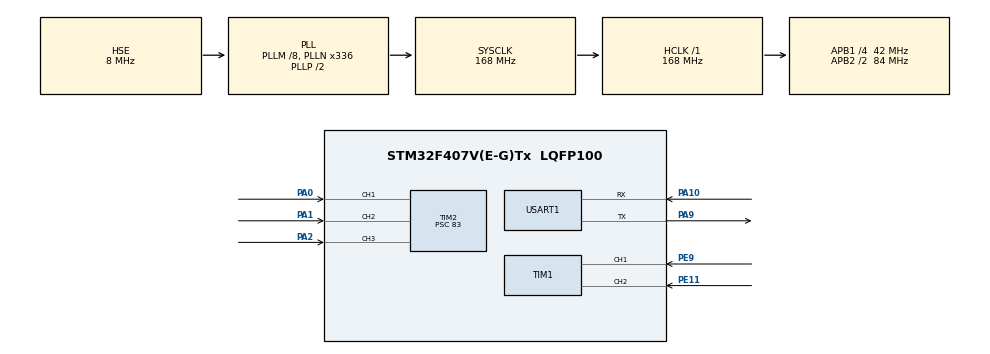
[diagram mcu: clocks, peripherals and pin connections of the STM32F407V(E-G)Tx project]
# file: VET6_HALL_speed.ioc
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Mcu.Family=STM32F4
Mcu.Name=STM32F407V(E-G)Tx
Mcu.Package=LQFP100
NVIC.PriorityGroup=NVIC_PRIORITYGROUP_2
NVIC.TIM2_IRQn=true\:1\:1\:true\:false\:true\:true\:true\:true
PA0-WKUP.Signal=S_TIM2_CH1_ETR
PA1.Signal=S_TIM2_CH2
PA10.Mode=Asynchronous
PA10.Signal=USART1_RX
PA2.Signal=S_TIM2_CH3
PA9.Mode=Asynchronous
PA9.Signal=USART1_TX
PE11.Signal=S_TIM1_CH2
PE9.Signal=S_TIM1_CH1
PH0-OSC_IN.Mode=HSE-External-Oscillator
PH0-OSC_IN.Signal=RCC_OSC_IN
PH1-OSC_OUT.Mode=HSE-External-Oscillator
PH1-OSC_OUT.Signal=RCC_OSC_OUT
ProjectManager.HeapSize=0x200
ProjectManager.StackSize=0x400
ProjectManager.TargetToolchain=STM32CubeIDE
RCC.48MHZClocksFreq_Value=84000000
RCC.AHBFreq_Value=168000000
RCC.APB1CLKDivider=RCC_HCLK_DIV4
RCC.APB1Freq_Value=42000000
RCC.APB1TimFreq_Value=84000000
RCC.APB2CLKDivider=RCC_HCLK_DIV2
RCC.APB2Freq_Value=84000000
RCC.APB2TimFreq_Value=168000000
RCC.CortexFreq_Value=168000000
RCC.HCLKFreq_Value=168000000
RCC.HSE_VALUE=8000000
RCC.HSI_VALUE=16000000
RCC.LSE_VALUE=32768
RCC.PLLM=8
RCC.PLLN=336
RCC.PLLSourceVirtual=RCC_PLLSOURCE_HSE
RCC.SYSCLKFreq_VALUE=168000000
RCC.SYSCLKSource=RCC_SYSCLKSOURCE_PLLCLK
RCC.VCOOutputFreq_Value=336000000
SH.S_TIM1_CH1.0=TIM1_CH1,Encoder_Interface
SH.S_TIM1_CH2.0=TIM1_CH2,Encoder_Interface
SH.S_TIM2_CH1_ETR.0=TIM2_CH1,Xored_Inputs_Hall_Sensor_Interface
SH.S_TIM2_CH2.0=TIM2_CH2,Xored_Inputs_Hall_Sensor_Interface
SH.S_TIM2_CH3.0=TIM2_CH3,Xored_Inputs_Hall_Sensor_Interface
TIM1.EncoderMode=TIM_ENCODERMODE_TI12
TIM2.IC1Polarity=TIM_ICPOLARITY_RISING
TIM2.Prescaler=83
USART1.VirtualMode=VM_ASYNC
board=custom

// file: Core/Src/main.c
/* USER CODE BEGIN Header */
/**
  ******************************************************************************
  * @file           : main.c
  * @brief          : Main program body
  ******************************************************************************
  * @attention
  *
  * Copyright (c) 2023 STMicroelectronics.
  * All rights reserved.
  *
  * This software is licensed under terms that can be found in the LICENSE file
  * in the root directory of this software component.
  * If no LICENSE file comes with this software, it is provided AS-IS.
  *
  ******************************************************************************
  */
/* USER CODE END Header */
#include "main.h"
#include "tim.h"
#include "usart.h"
#include "gpio.h"

/* USER CODE BEGIN Includes */
#include "retarget.h"
#include "math.h"
#include <string.h>

#define PI 3.14159265358979323846 // 定义圆周率
float MotorSpeed  = 0.0f ;// 电机转速,这里是占空比,

_Bool isTimeUp    = 0;     // 计时标记
uint32_t timeTick = 0;   // 计时标记
float Speed_hz    = 0 ;
#define TIMECNT 800
/* USER CODE END Includes */

/* USER CODE BEGIN PD */
#define HALL_U_Pin GPIO_PIN_0
#define HALL_U_GPIO_Port GPIOA
#define HALL_V_Pin GPIO_PIN_1
#define HALL_V_GPIO_Port GPIOA
#define HALL_W_Pin GPIO_PIN_2
#define HALL_W_GPIO_Port GPIOA

#define HALL_TIM_CH1_PORT                GPIOA          // CH1??????
#define HALL_TIM_CH1_PIN                 GPIO_PIN_0
#define HALL_TIM_CH1                     TIM_CHANNEL_1

#define HALL_TIM_CH2_PORT                GPIOA          // CH2??????
#define HALL_TIM_CH2_PIN                 GPIO_PIN_1
#define HALL_TIM_CH2                     TIM_CHANNEL_2

#define HALL_TIM_CH3_PORT                GPIOA          // CH3??????
#define HALL_TIM_CH3_PIN                 GPIO_PIN_2
#define HALL_TIM_CH3                     TIM_CHANNEL_3

#define HALL_TIM_IRQn                    TIM5_IRQn
#define HALL_TIM_IRQHanler               TIM5_IRQHandler

#define MOTOR_ENCODER_PPR 24 //电机编码器的线数
#define POLE_PAIRES                      4 // 无刷电机4对极
typedef enum
{
    MOTOR_DIR_CW = 0, // 顺时针转动
    MOTOR_DIR_CCW     // 逆时针转动
}MotorDir_Typedef;  // 方向定义

MotorDir_Typedef RT_hallDir = MOTOR_DIR_CW; // 霍尔顺序得到的电机转动方向
//const uint8_t HallDirCcw [7] = {0, 5, 3, 1, 6, 4, 2};    // PMSM 的逆时针旋转序列

#define PPR                             (POLE_PAIRES*2*3) // (4*2*3) 脉冲每转,
__IO uint32_t RT_hallcomp = 0;  // 霍尔计数值
__IO uint32_t RT_hallcnt = 0;   // 霍尔计数值
void convert();
/* USER CODE END PD */

/* USER CODE BEGIN PM */
//TIM_HandleTypeDef htim2;
int LS_hallPhase=0;
uint16_t hallState = 0, currentCount = 0, prevCount = 0, rpm = 0;
////const int HallDirCcw [7] = {0, 5, 3, 1, 6, 4, 2};    // PMSM 的???时针旋转序??
//
#define HALL_TIM_PRESCALER               83  // ????????????1MHz
#define HALL_TIM_FREQ                (84e6/(HALL_TIM_PRESCALER+1)) // ????????????
const int HallDirCcw [7] = {0, 5, 3, 1, 6, 4, 2};    // PMSM 的???时针旋转序??
/* USER CODE END PM */

void SystemClock_Config(void);

/* USER CODE BEGIN 0 */
void HAL_TIM_IC_CaptureCallback(TIM_HandleTypeDef *htim)
{
    char buffer[8];
    char buffer_sta[32];

    if (htim == &htim2)
    {

        convert();

    }
    RT_hallcnt++; // 记录进入中断次数
    /* 记录时间,假定不会溢出 */
    RT_hallcomp = __HAL_TIM_GET_COMPARE(htim,HALL_TIM_CH1);

}

void HALLSensor_Init()
{
    GPIO_InitTypeDef GPIO_InitStruct = {0};

    __HAL_RCC_GPIOA_CLK_ENABLE();

    GPIO_InitStruct.Pin = GPIO_PIN_0|GPIO_PIN_1|GPIO_PIN_2;
    GPIO_InitStruct.Mode = GPIO_MODE_AF_PP;
    GPIO_InitStruct.Pull = GPIO_PULLUP;
    GPIO_InitStruct.Speed = GPIO_SPEED_FREQ_VERY_HIGH;
    GPIO_InitStruct.Alternate = GPIO_AF1_TIM2;
    HAL_GPIO_Init(GPIOA, &GPIO_InitStruct);

    __HAL_RCC_TIM2_CLK_ENABLE();

    htim2.Instance = TIM2;
    htim2.Init.Prescaler = 83;
    htim2.Init.CounterMode = TIM_COUNTERMODE_UP;
    htim2.Init.Period = 65535;
    htim2.Init.ClockDivision = TIM_CLOCKDIVISION_DIV1;
    htim2.Init.RepetitionCounter = 0;
    htim2.Init.AutoReloadPreload = TIM_AUTORELOAD_PRELOAD_DISABLE;
    HAL_TIM_Base_Init(&htim2);

    TIM_IC_InitTypeDef sConfigIC = {0};
    sConfigIC.ICPolarity = TIM_INPUTCHANNELPOLARITY_BOTHEDGE; // 根据传感器信号极性设置输入捕获极性
    sConfigIC.ICSelection = TIM_ICSELECTION_DIRECTTI;
    sConfigIC.ICPrescaler = TIM_ICPSC_DIV1;
    sConfigIC.ICFilter = 0;
    HAL_TIM_IC_ConfigChannel(&htim2, &sConfigIC, TIM_CHANNEL_1);
    HAL_TIM_IC_ConfigChannel(&htim2, &sConfigIC, TIM_CHANNEL_2);
    HAL_TIM_IC_ConfigChannel(&htim2, &sConfigIC, TIM_CHANNEL_3);

    HAL_TIM_Base_Start(&htim2);
    HAL_TIM_IC_Start_IT(&htim2, TIM_CHANNEL_1);
    HAL_TIM_IC_Start_IT(&htim2, TIM_CHANNEL_2);
    HAL_TIM_IC_Start_IT(&htim2, TIM_CHANNEL_3);

    NVIC_SetPriority(TIM2_IRQn, 0);
    NVIC_EnableIRQ(TIM2_IRQn);
}

int32_t HALL_GetPhase1()
{
    int32_t tmp = 0;
    tmp |= HAL_GPIO_ReadPin(HALL_U_GPIO_Port, HALL_U_Pin);//U(A)
    tmp <<= 1;
    tmp |= HAL_GPIO_ReadPin(HALL_V_GPIO_Port, HALL_V_Pin);//V(B)
    tmp <<= 1;
    tmp |= HAL_GPIO_ReadPin(HALL_W_GPIO_Port, HALL_W_Pin);//W(C)
    return (tmp & 0x0007); // 取低三位
}

void convert()
{
    // printf("a:%d,b:%d,c:%d\n",u,v,w);
    int RT_hallPhase = 0; // 霍尔信号
    RT_hallPhase = HALL_GetPhase1();     // 获取霍尔引脚的相??
//    printf("RT_hallPhase:%d\n",RT_hallPhase);
//    printf("LS_hallPhase:%d\n",LS_hallPhase);
//    printf("引脚电平,PA0(U) %d PA1(V) %d PA2(W) %d\n",(HAL_GPIO_ReadPin(HALL_U_GPIO_Port, HALL_U_Pin)),
//           (HAL_GPIO_ReadPin(HALL_U_GPIO_Port, HALL_V_Pin)), HAL_GPIO_ReadPin(HALL_W_GPIO_Port, HALL_W_Pin));
//    printf("相位 dic HallDirCcw [相位:%d]:值:%d,上一次相位:LS_hallPhase: %d\n",RT_hallPhase,HallDirCcw[RT_hallPhase],LS_hallPhase);

    /* 判断方向 */
    if(HallDirCcw[RT_hallPhase] == LS_hallPhase ) // 序列与表中的????
    {

//        printf("顺时针转\n");
        RT_hallDir = MOTOR_DIR_CCW;
    }
    else if (RT_hallPhase == LS_hallPhase)
    {

    }
    else{
//       printf("逆时针转\n");
        RT_hallDir = MOTOR_DIR_CW;
    }

    LS_hallPhase = RT_hallPhase; // 记录这一个的霍尔??
//    printf("now LS_hallPhase:%d,RT_hallPhase:%d\n",LS_hallPhase,RT_hallPhase);
//    printf("------------------------------\n");
}

//extern MotorSta_Typedef Motor_State; // ??????????
//extern MotorDir_Typedef Motor_Dir;  // ?????? ,?????
//extern float PWM_Duty;        // 25%?????
//
//extern MotorDir_Typedef RT_hallDir; // ????????????????????
/* USER CODE END 0 */

int main(void)
{
  /* USER CODE BEGIN 1 */
    float Speed_hz  = 0 ;
    int encoder_left, encoder_right;
  /* USER CODE END 1 */

  /* MCU Configuration--------------------------------------------------------*/

  /* Reset of all peripherals, Initializes the Flash interface and the Systick. */
  HAL_Init();

  /* Configure the system clock */
  SystemClock_Config();

  /* Initialize all configured peripherals */
  MX_GPIO_Init();
  MX_TIM2_Init();
  MX_USART1_UART_Init();
  MX_TIM1_Init();
  /* USER CODE BEGIN 2 */

   HALLSensor_Init();

// HAL_TIMEx_HallSensor_MspInit(&htim2);

   RetargetInit(&huart1);
    HAL_TIM_Encoder_Start(&htim1,TIM_CHANNEL_ALL);

////    Motor_Dir = MOTOR_DIR_CW;
////    timeTick = TIMECNT;
//    HAL_Delay(1000);
   MotorSpeed = 0.0f;
//   BLDCMotor_SetSpeed(MotorSpeed);
//    BLDCMotor_Start();

    printf("ini2 over\n");
//   HALLSensor_Init();
  /* USER CODE END 2 */

  /* Infinite loop */
  /* USER CODE BEGIN WHILE */
  while (1) {

      if( isTimeUp )
      {
          uint32_t tmpCC = 0;
          if(RT_hallcnt == 0) // 避免除数为0
          {
              Speed_hz = 0;
          }
          else
          {
              tmpCC = RT_hallcomp / RT_hallcnt; // tmpCC:两次捕获之间的捕获值,
              Speed_hz = (float)HALL_TIM_FREQ/(float)(tmpCC);
          }
          RT_hallcomp = 0;
          RT_hallcnt  = 0;
          /* 霍尔信号的频率,转速rps,转速rpm */
          if(RT_hallDir == MOTOR_DIR_CW)
              Speed_hz = fabs(Speed_hz);
          else
              Speed_hz = -fabs(Speed_hz);
          /* 未做任何滤波的速度值 */
          printf("%.3f Hz, %.2f RPS, %.2fRPM\n", Speed_hz, Speed_hz/PPR, (Speed_hz/PPR)*60);

          isTimeUp = 0;
          timeTick = TIMECNT;
      }
//      encoder_left = (short)TIM1->CNT ;
//
//
//      TIM1->CNT = 0;
//      printf("encoder_left %d\n",encoder_left);

//      printf("rpm%d\n",rpm);
//      rpm=0;

//      uint32_t tmpCC = 0;
//      if(RT_hallcnt == 0) // 避免除数为0
//      {
//          Speed_hz = 0;
//      }
//      else
//      {
//          tmpCC = RT_hallcomp / RT_hallcnt; // tmpCC:两次捕获之间的捕获值,
//          Speed_hz = (float)HALL_TIM_FREQ/(float)(tmpCC);
//      }
//      RT_hallcomp = 0;
//      RT_hallcnt  = 0;
//      /* 霍尔信号的频率,转速rps,转速rpm */
//      if(RT_hallDir == MOTOR_DIR_CW) {
//          printf("正转");
//          Speed_hz = fabs(Speed_hz);
//      }
//      else {
//          printf("正转");
//          Speed_hz = -fabs(Speed_hz);
//      }
//      /* 未做任何滤波的速度值 */
//      printf("%.3f Hz, %.2f RPS, %.2fRPM\n", Speed_hz, Speed_hz/PPR, (Speed_hz/PPR)*60);
//
//      isTimeUp = 0;
//      timeTick = TIMECNT;
//      printf("running \n");
//      int phase = HALL_GetPhase();
//      printf("HALL phase: %d\n", phase);
//      printf("RPM: %d\n", rpm);
//      hallState = ((HAL_GPIO_ReadPin(HALL_U_GPIO_Port, HALL_U_Pin)) << 2) |
//                  ((HAL_GPIO_ReadPin(HALL_V_GPIO_Port, HALL_V_Pin)) << 1) |
//                  HAL_GPIO_ReadPin(HALL_W_GPIO_Port, HALL_W_Pin);
//      printf("%d\n",hallState);
////      hallState=19;
//      printf("gpio uvw %d,%d,%d\n", HAL_GPIO_ReadPin(HALL_U_GPIO_Port, HALL_U_Pin),
//             HAL_GPIO_ReadPin(HALL_V_GPIO_Port, HALL_V_Pin),
//             HAL_GPIO_ReadPin(HALL_W_GPIO_Port, HALL_W_Pin));

//     printf("%d\n",HALL_GetPhase());
//      convert();
//      printf("angle %f",get_angle());

      }
    /* USER CODE END WHILE */

}

void SystemClock_Config(void)
{
  RCC_OscInitTypeDef RCC_OscInitStruct = {0};
  RCC_ClkInitTypeDef RCC_ClkInitStruct = {0};

  /** Configure the main internal regulator output voltage
  */
  __HAL_RCC_PWR_CLK_ENABLE();
  __HAL_PWR_VOLTAGESCALING_CONFIG(PWR_REGULATOR_VOLTAGE_SCALE1);

  /** Initializes the RCC Oscillators according to the specified parameters
  * in the RCC_OscInitTypeDef structure.
  */
  RCC_OscInitStruct.OscillatorType = RCC_OSCILLATORTYPE_HSE;
  RCC_OscInitStruct.HSEState = RCC_HSE_ON;
  RCC_OscInitStruct.PLL.PLLState = RCC_PLL_ON;
  RCC_OscInitStruct.PLL.PLLSource = RCC_PLLSOURCE_HSE;
  RCC_OscInitStruct.PLL.PLLM = 8;
  RCC_OscInitStruct.PLL.PLLN = 336;
  RCC_OscInitStruct.PLL.PLLP = RCC_PLLP_DIV2;
  RCC_OscInitStruct.PLL.PLLQ = 4;
  if (HAL_RCC_OscConfig(&RCC_OscInitStruct) != HAL_OK)
  {
    Error_Handler();
  }

  /** Initializes the CPU, AHB and APB buses clocks
  */
  RCC_ClkInitStruct.ClockType = RCC_CLOCKTYPE_HCLK|RCC_CLOCKTYPE_SYSCLK
                              |RCC_CLOCKTYPE_PCLK1|RCC_CLOCKTYPE_PCLK2;
  RCC_ClkInitStruct.SYSCLKSource = RCC_SYSCLKSOURCE_PLLCLK;
  RCC_ClkInitStruct.AHBCLKDivider = RCC_SYSCLK_DIV1;
  RCC_ClkInitStruct.APB1CLKDivider = RCC_HCLK_DIV4;
  RCC_ClkInitStruct.APB2CLKDivider = RCC_HCLK_DIV2;

  if (HAL_RCC_ClockConfig(&RCC_ClkInitStruct, FLASH_LATENCY_5) != HAL_OK)
  {
    Error_Handler();
  }
    /**Configure the Systick interrupt time
     */
    HAL_SYSTICK_Config(HAL_RCC_GetHCLKFreq()/1000);

    /**Configure the Systick
    */
    HAL_SYSTICK_CLKSourceConfig(SYSTICK_CLKSOURCE_HCLK);

    /* SysTick_IRQn interrupt configuration */
    HAL_NVIC_SetPriority(SysTick_IRQn, 0, 0);
}

/* USER CODE BEGIN 4 */

void HAL_SYSTICK_Callback()
{
//   printf("hal_systick\n");
    if(timeTick != 0)
        timeTick--;
    if(timeTick == 0)
    {
        isTimeUp = 1;
    }

}
/* USER CODE END 4 */

void Error_Handler(void)
{
  __disable_irq();
  while (1)
  {
  }
}
